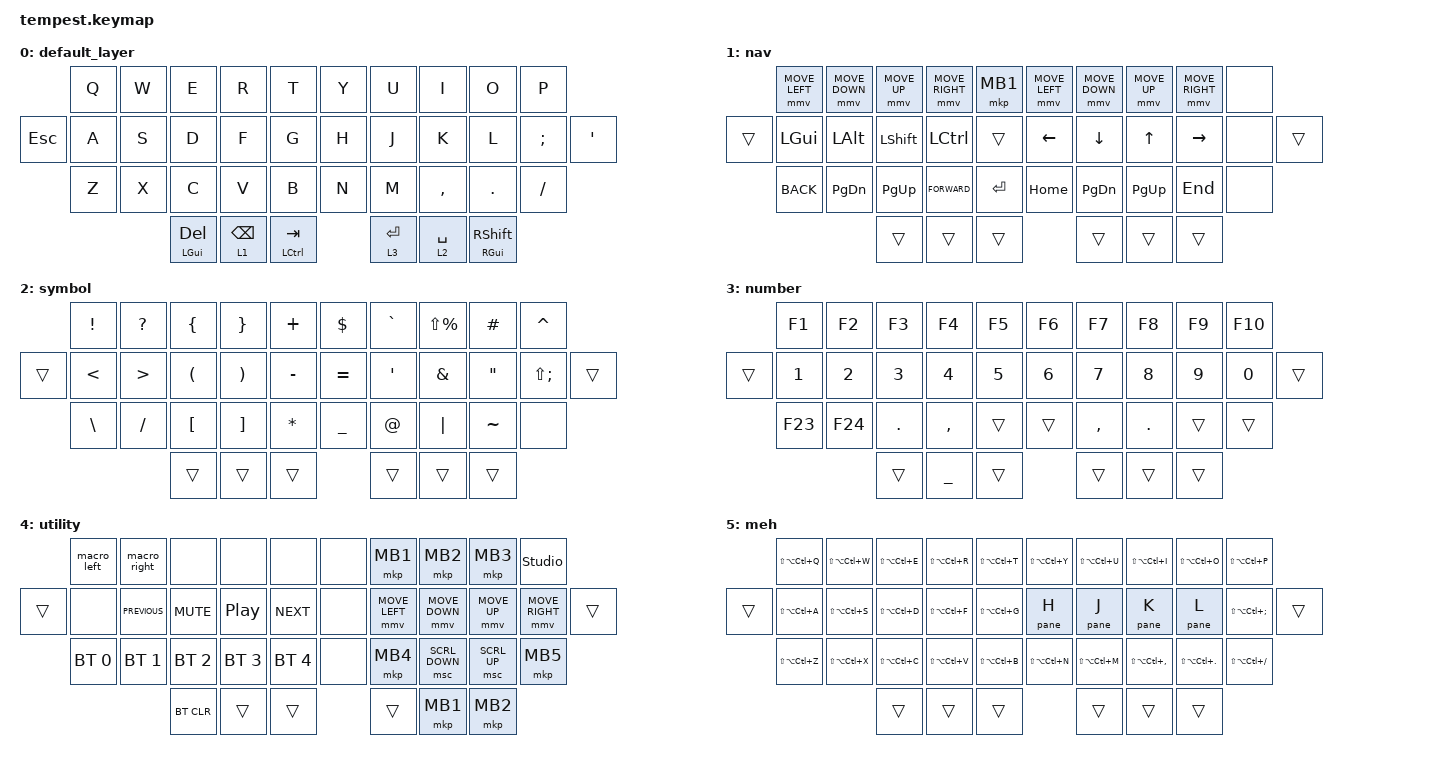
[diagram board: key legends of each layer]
/*
 * Copyright (c) 2020 The ZMK Contributors
 *
 * SPDX-License-Identifier: MIT
 */

#define ZMK_POINTING_DEFAULT_MOVE_VAL 1000  // default: 600
#define ZMK_POINTING_DEFAULT_SCRL_VAL 20    // default: 10

#include <behaviors.dtsi>
#include <dt-bindings/zmk/bt.h>
#include <dt-bindings/zmk/keys.h>
#include <dt-bindings/zmk/pointing.h>

&sk {
    release-after-ms = <1000>;
    quick-release;
    lazy;
    ignore-modifiers;
};

&mmv {
    acceleration-exponent = <1>;          // 1
    time-to-max-speed-ms = <500>;         // 300
    delay-ms = <0>;                       // 0
};

&lt {
    tapping-term-ms = <200>; // default 200
    flavor = "balanced"; // or hold-preferred or tap-preferred
    quick-tap-ms = <250>;
};

&mt {
    tapping-term-ms = <200>;
    flavor = "balanced";
    quick-tap-ms = <250>;
};

/*       0   1   2   3   4      ||    5   6   7   8   9 */
/* {10}  11  12  13  14  15     ||    16  17  18  19  20  {21} */
/*       22  23  24  25  26     ||    27  28  29  30  31 */
/*                   32 33 34   ||  35 36 37 */


/ {
    combos {
        compatible = "zmk,combos";

        combo_dash {
            bindings = <&kp MINUS>;
            key-positions = <8 9>;
            layers = <0>;
            require-prior-idle-ms = <150>;
        };

        combo_grave {
            bindings = <&kp GRAVE>;
            key-positions = <0 1>;
            layers = <0>;
            require-prior-idle-ms = <150>;
        };

        combo_caps_lock {
            bindings = <&kp CAPSLOCK>;
            key-positions = <22 23>;
            layers = <0>;
            require-prior-idle-ms = <150>;
        };
    };

    macros {
        // vim ctrl-w + direction
        pane: pane {
            compatible = "zmk,behavior-macro-one-param";
            #binding-cells = <1>;
            bindings = <&kp LC(W)>, <&macro_param_1to1>, <&kp MACRO_PLACEHOLDER>;
        };

        arrow_func: arrow_func {
            compatible = "zmk,behavior-macro";
            #binding-cells = <0>;
            bindings = <&kp EQUAL &kp GT>, <&macro_press>;

            label = "ARROW_FUNC";
        };

        emdsh: emdsh {
            compatible = "zmk,behavior-macro";
            #binding-cells = <0>;
            bindings =
                <&kp SPACE &kp MINUS &kp MINUS &kp SPACE>,
                <&macro_press>;

            label = "EMDSH";
        };
    };

    behaviors {
        cmd_del: cmd_del {
            compatible = "zmk,behavior-hold-tap";
            #binding-cells = <2>;
            tapping-term-ms = <200>;
            flavor = "hold-preferred";
            bindings = <&kp>, <&kp>;
        };

        // hold for cmd so cmd+tab works with the left tab thumb
        cmd_shift: cmd_shift {
            compatible = "zmk,behavior-hold-tap";
            #binding-cells = <2>;
            tapping-term-ms = <200>;
            flavor = "tap-preferred";
            bindings = <&kp>, <&sk>;
        };

        arrow_func_tap: arrow_func_tap {
            compatible = "zmk,behavior-tap-dance";
            label = "ARROW_FUNC_TAP";
            #binding-cells = <0>;
            bindings = <&kp GREATER_THAN>, <&arrow_func>;
        };

        macro_left: macro_left {
            compatible = "zmk,behavior-tap-dance";
            label = "MACRO_LEFT";
            #binding-cells = <0>;
            bindings = <&none>, <&kp F22>;
        };

        macro_right: macro_right {
            compatible = "zmk,behavior-tap-dance";
            label = "MACRO_RIGHT";
            #binding-cells = <0>;
            bindings = <&kp F21>, <&kp F23>;
        };
    };

    keymap {
        compatible = "zmk,keymap";

        default_layer {
            // -----------------------------------------------------------------------------------------
            //          ||  Q  |  W  |  E  |  R  |  T  ||                   ||  Y  |  U   |  I  |  O  |  P  || 
            //   ESC   ||  A  |  S  |  D  |  F  |  G  ||                   ||  H  |  J   |  K  |  L  |  ;  ||   ' 
            //          ||  Z  |  X  |  C  |  V  |  B  ||                   ||  N  |  M   |  ,  |  .  |  /  || 
            //                               | DEL/CMD | BKS | TAB/CTL ||   || ENT | SPC | SFT/CMD |

            bindings = <
             &kp Q         &kp W            &kp E              &kp R         &kp T      &kp Y      &kp U            &kp I               &kp O            &kp P
&kp ESC      &kp A         &kp S            &kp D              &kp F         &kp G      &kp H      &kp J            &kp K               &kp L            &kp SEMICOLON  &kp SQT
             &kp Z         &kp X            &kp C              &kp V         &kp B      &kp N      &kp M            &kp COMMA           &kp DOT          &kp FSLH
                                            &cmd_del LGUI DELETE &lt 1 BACKSPACE  &mt LCTRL TAB  &lt 3 RET  &lt 2 SPACE  &cmd_shift RGUI RIGHT_SHIFT
            >;
        };

        nav {
            bindings = <
        &mmv MOVE_LEFT  &mmv MOVE_DOWN  &mmv MOVE_UP    &mmv MOVE_RIGHT   &mkp MB1   &mmv MOVE_LEFT     &mmv MOVE_DOWN  &mmv MOVE_UP    &mmv MOVE_RIGHT  &none
&trans  &kp LGUI        &kp LALT        &kp LEFT_SHIFT  &kp LEFT_CONTROL  &trans     &kp LEFT           &kp DOWN_ARROW  &kp UP_ARROW    &kp RIGHT        &none          &trans
        &kp K_BACK      &kp PAGE_DOWN   &kp PAGE_UP     &kp K_FORWARD     &kp ENTER  &kp HOME           &kp PAGE_DOWN   &kp PG_UP       &kp END          &none
                                        &trans          &trans            &trans     &trans             &trans          &trans
            >;
        };

        symbol {
            bindings = <
        &kp EXCLAMATION       &kp QUESTION     &kp LEFT_BRACE                    &kp RIGHT_BRACE               &kp PLUS      &kp DOLLAR      &kp GRAVE                &kp LS(PERCENT)             &kp HASH           &kp CARET
&trans  &kp LESS_THAN         &kp GREATER_THAN &kp LEFT_PARENTHESIS              &kp RIGHT_PARENTHESIS         &kp MINUS     &kp EQUAL       &kp SINGLE_QUOTE         &kp AMPERSAND               &kp DOUBLE_QUOTES  &kp LS(SEMICOLON)    &trans
        &kp BACKSLASH      &kp SLASH        &kp LEFT_BRACKET                  &kp RIGHT_BRACKET             &kp ASTERISK  &kp UNDERSCORE  &kp AT_SIGN              &kp PIPE                 &kp TILDE          &none
                                               &trans                            &trans                        &trans        &trans          &trans                   &trans
            >;
        };

        number {
            bindings = <
        &kp F1  &kp F2                  &kp F3                    &kp F4               &kp F5  &kp F6  &kp F7               &kp F8                    &kp F9                  &kp F10
&trans  &kp N1  &kp N2                  &kp N3                    &kp N4               &kp N5  &kp N6  &kp N7               &kp N8                    &kp N9                  &kp N0   &trans
        &kp F23 &kp F24                 &kp DOT                   &kp COMMA            &trans  &trans  &kp COMMA            &kp DOT                   &trans                  &trans
                                        &trans                    &kp UNDER            &trans  &trans  &trans               &trans
            >;
        };

        utility {
            bindings = <
        &macro_left   &macro_right    &none         &none             &none         &none   &mkp MB1        &mkp MB2        &mkp MB3      &studio_unlock
&trans  &none         &kp C_PREVIOUS  &kp C_MUTE    &kp C_PLAY_PAUSE  &kp C_NEXT    &none   &mmv MOVE_LEFT  &mmv MOVE_DOWN  &mmv MOVE_UP  &mmv MOVE_RIGHT  &trans
        &bt BT_SEL 0  &bt BT_SEL 1    &bt BT_SEL 2  &bt BT_SEL 3      &bt BT_SEL 4  &none   &mkp MB4        &msc SCRL_DOWN  &msc SCRL_UP  &mkp MB5
                                      &bt BT_CLR    &trans            &trans        &trans  &mkp MB1        &mkp MB2
            >;
        };

        meh {
            bindings = <
        &kp LS(LA(LC(Q)))  &kp LS(LA(LC(W)))  &kp LS(LA(LC(E)))  &kp LS(LA(LC(R)))  &kp LS(LA(LC(T)))  &kp LS(LA(LC(Y)))  &kp LS(LA(LC(U)))  &kp LS(LA(LC(I)))      &kp LS(LA(LC(O)))    &kp LS(LA(LC(P)))
&trans  &kp LS(LA(LC(A)))  &kp LS(LA(LC(S)))  &kp LS(LA(LC(D)))  &kp LS(LA(LC(F)))  &kp LS(LA(LC(G)))  &pane H            &pane J            &pane K                &pane L              &kp LS(LA(LC(SEMI)))  &trans
        &kp LS(LA(LC(Z)))  &kp LS(LA(LC(X)))  &kp LS(LA(LC(C)))  &kp LS(LA(LC(V)))  &kp LS(LA(LC(B)))  &kp LS(LA(LC(N)))  &kp LS(LA(LC(M)))  &kp LS(LA(LC(COMMA)))  &kp LS(LA(LC(DOT)))  &kp LS(LA(LC(FSLH)))
                                              &trans             &trans             &trans             &trans             &trans             &trans
            >;
        };
    };

    conditional_layers {
        compatible = "zmk,conditional-layers";

        utility {
            if-layers = <1 2>;
            then-layer = <4>;
        };

        tiling {
            if-layers = <1 3>;
            then-layer = <5>;
        };
    };
};
